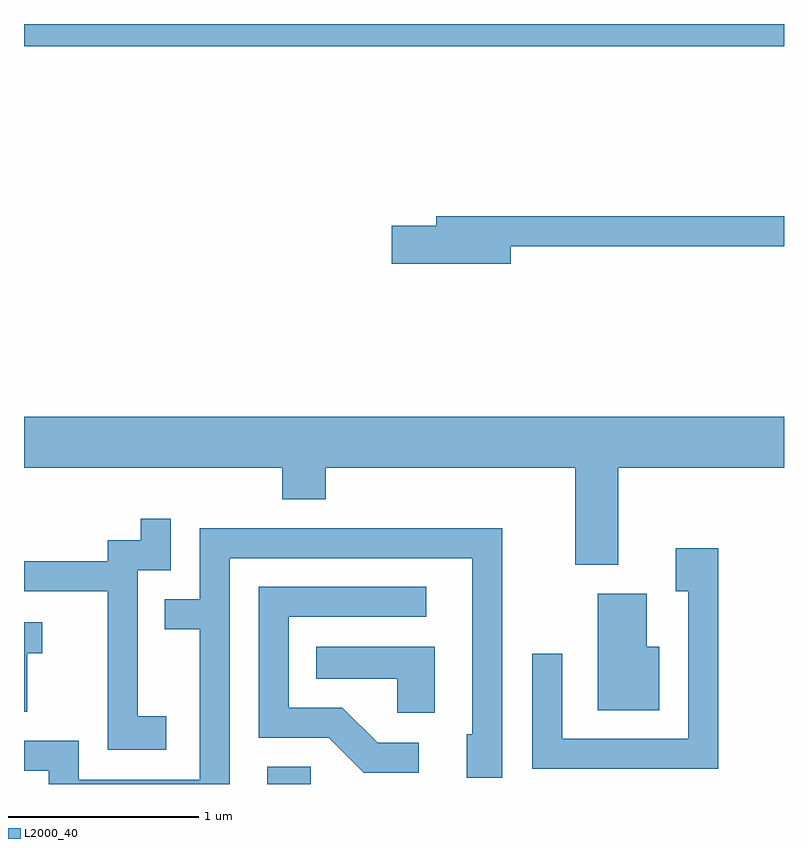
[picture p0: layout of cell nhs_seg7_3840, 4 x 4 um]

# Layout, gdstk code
import gdstk
lib = gdstk.Library(unit=1e-6, precision=1e-09)
def R(c, l, rs):  # rectangles x0, y0, x1, y1
    for r in rs: c.add(gdstk.rectangle(r[:2], r[2:], *l))
def P(c, l, *ps):  # polygons
    for p in ps: c.add(gdstk.Polygon(p, *l))
L2000_40 = (2000, 40)

nhs_seg7_3840 = lib.new_cell('nhs_seg7_3840')
R(nhs_seg7_3840, L2000_40, [(304.891,1668.252,305.119,1668.344), (303.611,1672.136,307.611,1672.252)])
P(nhs_seg7_3840, L2000_40, [(306.174,1671.081),(307.611,1671.081),(307.611,1671.239),(305.781,1671.239),(305.781,1671.189),(305.546,1671.189),(305.546,1670.991),(306.174,1670.991)],
  [(306.739,1669.916),(307.611,1669.916),(307.611,1670.184),(303.611,1670.184),(303.611,1669.916),(304.971,1669.916),(304.971,1669.751),(305.199,1669.751),(305.199,1669.916),(306.511,1669.916),(306.511,1669.406),(306.739,1669.406)],
  [(304.359,1668.609),(304.209,1668.609),(304.209,1669.376),(304.384,1669.376),(304.384,1669.648),(304.226,1669.648),(304.226,1669.534),(304.051,1669.534),(304.051,1669.424),(303.611,1669.424),(303.611,1669.266),(304.051,1669.266),(304.051,1668.431),(304.359,1668.431)],
  [(304.694,1669.441),(305.971,1669.441),(305.971,1668.514),(305.941,1668.514),(305.941,1668.286),(306.129,1668.286),(306.129,1669.599),(304.536,1669.599),(304.536,1669.224),(304.353,1669.224),(304.353,1669.066),(304.536,1669.066),(304.536,1668.274),(303.899,1668.274),(303.899,1668.479),(303.611,1668.479),(303.611,1668.321),(303.741,1668.321),(303.741,1668.252),(304.694,1668.252)],
  [(307.264,1669.494),(307.041,1669.494),(307.041,1669.266),(307.106,1669.266),(307.106,1668.489),(306.444,1668.489),(306.444,1668.938),(306.286,1668.938),(306.286,1668.331),(307.264,1668.331)],
  [(305.688,1668.469),(305.472,1668.469),(305.287,1668.654),(305.004,1668.654),(305.004,1669.131),(305.728,1669.131),(305.728,1669.289),(304.846,1669.289),(304.846,1668.496),(305.214,1668.496),(305.399,1668.311),(305.688,1668.311)],
  [(306.954,1668.974),(306.889,1668.974),(306.889,1669.254),(306.631,1669.254),(306.631,1668.641),(306.954,1668.641)],
  [(303.629,1668.941),(303.708,1668.941),(303.708,1669.104),(303.611,1669.104),(303.611,1668.631),(303.629,1668.631)],
  [(305.774,1668.974),(305.148,1668.974),(305.148,1668.806),(305.576,1668.806),(305.576,1668.626),(305.774,1668.626)])

lib.write_gds('nhs_seg7_3840.gds')
